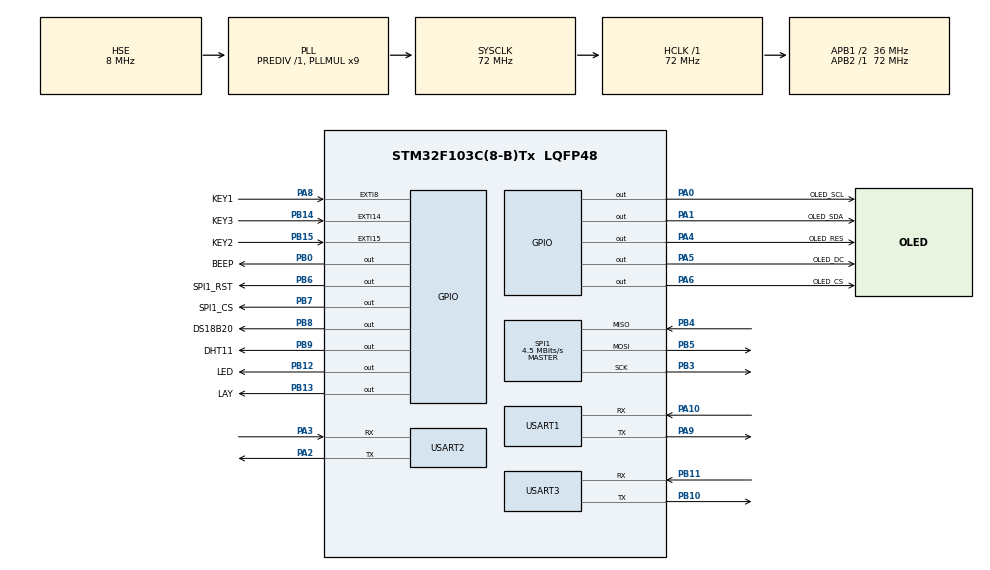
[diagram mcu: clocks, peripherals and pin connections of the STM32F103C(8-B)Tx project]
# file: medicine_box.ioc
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Dma.Request0=USART2_RX
Dma.USART2_RX.0.Direction=DMA_PERIPH_TO_MEMORY
Dma.USART2_RX.0.Instance=DMA1_Channel6
Dma.USART2_RX.0.MemDataAlignment=DMA_MDATAALIGN_BYTE
Dma.USART2_RX.0.MemInc=DMA_MINC_ENABLE
Dma.USART2_RX.0.Mode=DMA_NORMAL
Dma.USART2_RX.0.PeriphDataAlignment=DMA_PDATAALIGN_BYTE
Dma.USART2_RX.0.PeriphInc=DMA_PINC_DISABLE
Dma.USART2_RX.0.Priority=DMA_PRIORITY_LOW
Mcu.Family=STM32F1
Mcu.Name=STM32F103C(8-B)Tx
Mcu.Package=LQFP48
NVIC.DMA1_Channel6_IRQn=true\:0\:0\:false\:false\:true\:false\:true\:true
NVIC.EXTI15_10_IRQn=true\:0\:0\:false\:false\:true\:true\:true\:true
NVIC.EXTI9_5_IRQn=true\:0\:0\:false\:false\:true\:true\:true\:true
NVIC.PriorityGroup=NVIC_PRIORITYGROUP_4
NVIC.SPI1_IRQn=true\:0\:0\:false\:false\:true\:true\:true\:true
NVIC.TIM1_UP_IRQn=true\:0\:0\:false\:false\:true\:true\:true\:true
NVIC.USART2_IRQn=true\:0\:0\:false\:false\:true\:true\:true\:true
PA0-WKUP.GPIO_Label=OLED_SCL
PA0-WKUP.GPIO_PuPd=GPIO_PULLUP
PA0-WKUP.GPIO_Speed=GPIO_SPEED_FREQ_HIGH
PA0-WKUP.PinState=GPIO_PIN_SET
PA0-WKUP.Signal=GPIO_Output
PA1.GPIO_Label=OLED_SDA
PA1.GPIO_ModeDefaultOutputPP=GPIO_MODE_OUTPUT_PP
PA1.GPIO_PuPd=GPIO_PULLUP
PA1.GPIO_Speed=GPIO_SPEED_FREQ_HIGH
PA1.PinState=GPIO_PIN_SET
PA1.Signal=GPIO_Output
PA10.Mode=Asynchronous
PA10.Signal=USART1_RX
PA13.Mode=Serial_Wire
PA13.Signal=SYS_JTMS-SWDIO
PA14.Mode=Serial_Wire
PA14.Signal=SYS_JTCK-SWCLK
PA2.Mode=Asynchronous
PA2.Signal=USART2_TX
PA3.Mode=Asynchronous
PA3.Signal=USART2_RX
PA4.GPIO_Label=OLED_RES
PA4.GPIO_ModeDefaultOutputPP=GPIO_MODE_OUTPUT_PP
PA4.GPIO_PuPd=GPIO_PULLUP
PA4.GPIO_Speed=GPIO_SPEED_FREQ_HIGH
PA4.PinState=GPIO_PIN_SET
PA4.Signal=GPIO_Output
PA5.GPIO_Label=OLED_DC
PA5.GPIO_ModeDefaultOutputPP=GPIO_MODE_OUTPUT_PP
PA5.GPIO_PuPd=GPIO_PULLUP
PA5.GPIO_Speed=GPIO_SPEED_FREQ_HIGH
PA5.PinState=GPIO_PIN_SET
PA5.Signal=GPIO_Output
PA6.GPIO_Label=OLED_CS
PA6.GPIO_ModeDefaultOutputPP=GPIO_MODE_OUTPUT_PP
PA6.GPIO_PuPd=GPIO_PULLUP
PA6.GPIO_Speed=GPIO_SPEED_FREQ_HIGH
PA6.PinState=GPIO_PIN_SET
PA6.Signal=GPIO_Output
PA8.GPIO_Label=KEY1
PA8.GPIO_ModeDefaultEXTI=GPIO_MODE_IT_FALLING
PA8.GPIO_PuPd=GPIO_PULLUP
PA8.Signal=GPXTI8
PA9.Mode=Asynchronous
PA9.Signal=USART1_TX
PB0.GPIO_Label=BEEP
PB0.GPIO_ModeDefaultOutputPP=GPIO_MODE_OUTPUT_PP
PB0.GPIO_PuPd=GPIO_PULLUP
PB0.GPIO_Speed=GPIO_SPEED_FREQ_HIGH
PB0.PinState=GPIO_PIN_SET
PB0.Signal=GPIO_Output
PB10.Mode=Asynchronous
PB10.Signal=USART3_TX
PB11.Mode=Asynchronous
PB11.Signal=USART3_RX
PB12.GPIO_Label=LED
PB12.GPIO_PuPd=GPIO_PULLUP
PB12.GPIO_Speed=GPIO_SPEED_FREQ_HIGH
PB12.PinState=GPIO_PIN_SET
PB12.Signal=GPIO_Output
PB13.GPIO_Label=LAY
PB13.GPIO_ModeDefaultOutputPP=GPIO_MODE_OUTPUT_PP
PB13.GPIO_PuPd=GPIO_PULLUP
PB13.GPIO_Speed=GPIO_SPEED_FREQ_MEDIUM
PB13.PinState=GPIO_PIN_SET
PB13.Signal=GPIO_Output
PB14.GPIO_Label=KEY3
PB14.GPIO_ModeDefaultEXTI=GPIO_MODE_IT_FALLING
PB14.GPIO_PuPd=GPIO_PULLUP
PB14.Signal=GPXTI14
PB15.GPIO_Label=KEY2
PB15.GPIO_ModeDefaultEXTI=GPIO_MODE_IT_FALLING
PB15.GPIO_PuPd=GPIO_PULLUP
PB15.Signal=GPXTI15
PB3.Mode=Full_Duplex_Master
PB3.Signal=SPI1_SCK
PB4.Mode=Full_Duplex_Master
PB4.Signal=SPI1_MISO
PB5.Mode=Full_Duplex_Master
PB5.Signal=SPI1_MOSI
PB6.GPIO_Label=SPI1_RST
PB6.GPIO_ModeDefaultOutputPP=GPIO_MODE_OUTPUT_PP
PB6.GPIO_PuPd=GPIO_PULLUP
PB6.GPIO_Speed=GPIO_SPEED_FREQ_MEDIUM
PB6.PinState=GPIO_PIN_SET
PB6.Signal=GPIO_Output
PB7.GPIO_Label=SPI1_CS
PB7.GPIO_PuPd=GPIO_PULLUP
PB7.GPIO_Speed=GPIO_SPEED_FREQ_MEDIUM
PB7.PinState=GPIO_PIN_SET
PB7.Signal=GPIO_Output
PB8.GPIO_Label=DS18B20
PB8.GPIO_ModeDefaultOutputPP=GPIO_MODE_OUTPUT_PP
PB8.GPIO_PuPd=GPIO_NOPULL
PB8.GPIO_Speed=GPIO_SPEED_FREQ_MEDIUM
PB8.PinState=GPIO_PIN_SET
PB8.Signal=GPIO_Output
PB9.GPIO_Label=DHT11
PB9.GPIO_PuPd=GPIO_PULLUP
PB9.GPIO_Speed=GPIO_SPEED_FREQ_HIGH
PB9.PinState=GPIO_PIN_SET
PB9.Signal=GPIO_Output
PD0-OSC_IN.Mode=HSE-External-Oscillator
PD0-OSC_IN.Signal=RCC_OSC_IN
PD1-OSC_OUT.Mode=HSE-External-Oscillator
PD1-OSC_OUT.Signal=RCC_OSC_OUT
ProjectManager.HeapSize=0x200
ProjectManager.StackSize=0x400
ProjectManager.TargetToolchain=MDK-ARM V5.32
RCC.AHBFreq_Value=72000000
RCC.APB1CLKDivider=RCC_HCLK_DIV2
RCC.APB1Freq_Value=36000000
RCC.APB1TimFreq_Value=72000000
RCC.APB2Freq_Value=72000000
RCC.APB2TimFreq_Value=72000000
RCC.HCLKFreq_Value=72000000
RCC.PLLMUL=RCC_PLL_MUL9
RCC.PLLSourceVirtual=RCC_PLLSOURCE_HSE
RCC.SYSCLKFreq_VALUE=72000000
RCC.SYSCLKSource=RCC_SYSCLKSOURCE_PLLCLK
RCC.USBFreq_Value=72000000
SPI1.BaudRatePrescaler=SPI_BAUDRATEPRESCALER_16
SPI1.CalculateBaudRate=4.5 MBits/s
SPI1.Direction=SPI_DIRECTION_2LINES
SPI1.Mode=SPI_MODE_MASTER
SPI1.VirtualType=VM_MASTER
USART1.VirtualMode=VM_ASYNC
USART2.VirtualMode=VM_ASYNC
USART3.VirtualMode=VM_ASYNC
VP_TIM1_VS_ClockSourceINT.Mode=Internal
board=custom

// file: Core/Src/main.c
/* USER CODE BEGIN Header */
/**
  ******************************************************************************
  * @file           : main.c
  * @brief          : Main program body
  ******************************************************************************
  * @attention
  *
  * Copyright (c) 2025 STMicroelectronics.
  * All rights reserved.
  *
  * This software is licensed under terms that can be found in the LICENSE file
  * in the root directory of this software component.
  * If no LICENSE file comes with this software, it is provided AS-IS.
  *
  ******************************************************************************
  */
/* USER CODE END Header */
#include "main.h"
#include "dma.h"
#include "spi.h"
#include "tim.h"
#include "usart.h"
#include "gpio.h"

/* USER CODE BEGIN Includes */
#include "oled.h"
#include "RC522.h"
#include "DHT11.h"
#include "ds18b20.h"
#include "string.h"
#include "esp8266.h"

/* USER CODE END Includes */

void SystemClock_Config(void);

/* USER CODE BEGIN 0 */
static void ui_setting(void);
bool ui_come=false;
/* USER CODE END 0 */

int main(void)
{

  /* USER CODE BEGIN 1 */
  float num_d;
		 uint8_t status,i;
	uint8_t g_ucTempbuf[20];
		uint8_t cardid[4]={0x00,0x00,0x00,0x00};
		uint8_t card1[4]={0x43,0xea,0x26,0x2d};
		uint8_t card2[4]={0x03,0x83,0x35,0x29};
		static int i_count=0;
		static int time_p=0;
		char data_show[20];
  /* USER CODE END 1 */

  /* MCU Configuration--------------------------------------------------------*/

  /* Reset of all peripherals, Initializes the Flash interface and the Systick. */
  HAL_Init();

  /* Configure the system clock */
  SystemClock_Config();

  /* Initialize all configured peripherals */
  MX_GPIO_Init();
  MX_DMA_Init();
  MX_SPI1_Init();
  MX_USART1_UART_Init();
  MX_USART2_UART_Init();
  MX_TIM1_Init();
  MX_USART3_UART_Init();
  /* USER CODE BEGIN 2 */
	OLED_Init();
	OLED_ColorTurn(0);
  OLED_DisplayTurn(0);
	OLED_Clear();

	PCD_Reset();
  PCD_AntennaOff();
  PCD_AntennaOn();
	start_esp8266();
	if(DS_Init()==0)
	{
	}

//	uart3_send_message();
//	HAL_GPIO_WritePin(GPIOB, LED_Pin, GPIO_PIN_RESET);
  /* USER CODE END 2 */

  /* Infinite loop */
  while (1)
  {

    /* USER CODE BEGIN 3 */
		DHT11_READ_DATA();
		num_d = Get_DS_Temperature();
		oled_showFnum(1,20,num_d,8,1);
		OLED_Refresh();

		i_count++;
		if(i_count/1000*5)
		{
			i_count=0;
			sprintf(data_show,"temperature:%0.2f\r\n",num_d);
      if(num_d>25)
			{
				send_wifi(data_show,19);
			}

//			if(num_d>27)
//			{
//				uart3_send_messageCALL();
//			}

		}

		if(time_right)
		{
			 time_right=false;
			time_count=0;
			 HAL_GPIO_WritePin(GPIOB, BEEP_Pin, GPIO_PIN_RESET);
			 HAL_Delay(100);
			 HAL_GPIO_WritePin(GPIOB, BEEP_Pin, GPIO_PIN_SET);
			 uart3_send_message();
		}

			OLED_ShowString(0,30,(uint8_t*)"ibuprofen",16,1);

			OLED_ShowString(0,47,(uint8_t*)"999 dermatitis",16,1);
  		OLED_Refresh();
		  handle_esp8266();
		 if(num_d>27)  //温度
		  {
			 //手机发短信
				uart3_send_messageCALL();
		  }

		 	if(botton == RIGHT)
			{
				  botton = UNPRESS;
					OLED_Clear();
				  ui_setting();
			}

		status = PCD_Request(PICC_REQALL, g_ucTempbuf);//???
		 if(status)
		 {
				PCD_Reset();
				PCD_AntennaOff();
				PCD_AntennaOn();
			  continue;
		 }
		 status = PCD_Anticoll(cardid);  //防冲撞，获取ID信息

		 if(memcmp(cardid,card1,4)==0)
		 {
				HAL_UART_Transmit(&huart1,buluofen,17,0xffff);
			 		 HAL_Delay(1500);
		 }

		 if(memcmp(cardid,card2,4)==0)
		 {
				HAL_UART_Transmit(&huart1,ninenine,22,0xffff);
			 		 HAL_Delay(1500);
		 }

		//HAL_Delay(1000);
  }
  /* USER CODE END 3 */
}

void SystemClock_Config(void)
{
  RCC_OscInitTypeDef RCC_OscInitStruct = {0};
  RCC_ClkInitTypeDef RCC_ClkInitStruct = {0};

  /** Initializes the RCC Oscillators according to the specified parameters
  * in the RCC_OscInitTypeDef structure.
  */
  RCC_OscInitStruct.OscillatorType = RCC_OSCILLATORTYPE_HSE;
  RCC_OscInitStruct.HSEState = RCC_HSE_ON;
  RCC_OscInitStruct.HSEPredivValue = RCC_HSE_PREDIV_DIV1;
  RCC_OscInitStruct.HSIState = RCC_HSI_ON;
  RCC_OscInitStruct.PLL.PLLState = RCC_PLL_ON;
  RCC_OscInitStruct.PLL.PLLSource = RCC_PLLSOURCE_HSE;
  RCC_OscInitStruct.PLL.PLLMUL = RCC_PLL_MUL9;
  if (HAL_RCC_OscConfig(&RCC_OscInitStruct) != HAL_OK)
  {
    Error_Handler();
  }

  /** Initializes the CPU, AHB and APB buses clocks
  */
  RCC_ClkInitStruct.ClockType = RCC_CLOCKTYPE_HCLK|RCC_CLOCKTYPE_SYSCLK
                              |RCC_CLOCKTYPE_PCLK1|RCC_CLOCKTYPE_PCLK2;
  RCC_ClkInitStruct.SYSCLKSource = RCC_SYSCLKSOURCE_PLLCLK;
  RCC_ClkInitStruct.AHBCLKDivider = RCC_SYSCLK_DIV1;
  RCC_ClkInitStruct.APB1CLKDivider = RCC_HCLK_DIV2;
  RCC_ClkInitStruct.APB2CLKDivider = RCC_HCLK_DIV1;

  if (HAL_RCC_ClockConfig(&RCC_ClkInitStruct, FLASH_LATENCY_2) != HAL_OK)
  {
    Error_Handler();
  }
}

/* USER CODE BEGIN 4 */
static void ui_setting(void)
{
	    ui_come= true;
			char text[20];
			OLED_ShowString(20,0,(uint8_t*)"Setting time",16,1);
  		OLED_Refresh();
			while(1)
			{
					sprintf(text,"%02d",time_set);
				  OLED_ShowString(40,30,(uint8_t*)text,16,1);
					OLED_Refresh();

				  if(botton == LEFT)
					{
							botton = UNPRESS;
						  time_set--;
						  if(time_set<2)
								time_set=10;
					}

					if(botton == RIGHT)
					{
							botton = UNPRESS;
						  time_set++;
						  if(time_set>10)
								time_set=2;
					}

					if(botton == MIDLE)
					{
							botton = UNPRESS;
              ui_come=false;
							return;
					}

			}
}
/* USER CODE END 4 */

void Error_Handler(void)
{
  __disable_irq();
  while (1)
  {
  }
}
